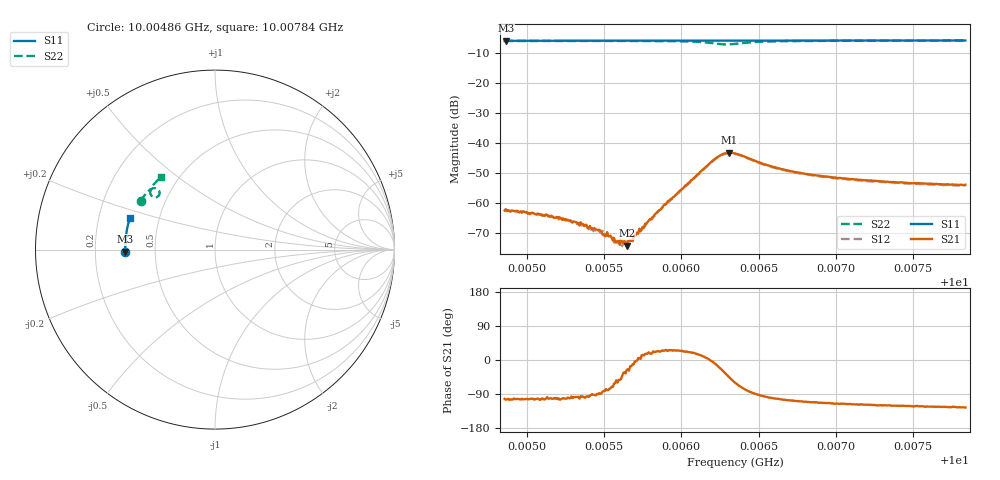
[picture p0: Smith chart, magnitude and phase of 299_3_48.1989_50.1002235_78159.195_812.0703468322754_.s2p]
#  HZ  S  RI  R  50.00
! Rohde & Schwarz Vector Network Analyzer
! Rohde-Schwarz,ZNB20-2Port,1311601062101988,3.16
! Created: UTC 3/20/2024, 11:49:30 AM
! freq[Hz]  re:S11  im:S11  re:S21  im:S21  re:S12  im:S12  re:S22  im:S22
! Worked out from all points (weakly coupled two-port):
!   401 points, 10.00486 GHz to 10.00784 GHz, reference 50 ohm
!   highest |S21| = -43.23 dB at 10.00631 GHz (marker M1); lowest = -74.1 dB at 10.00565 GHz (marker M2)
!   lowest |S11| = -6.0 dB at 10.00487 GHz (marker M3), VSWR 2.99, Z = 16.7 - j0.482 ohm
!   |S11| at or under -10 dB: nowhere
!   |S22| runs from -7.2 to -6.0 dB; largest |S21 - S12| = 0.0004
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1.0004858e10  -0.4992 -0.0113  -0.000164 -0.000735  -0.000104 -0.000739  -0.414 0.2695
1.0004865e10  -0.4991 -0.0108  -0.000201 -0.000766  -0.000117 -0.000737  -0.4138 0.2701
1.0005178e10  -0.4998 0.00958  -0.000101 -0.000557  -0.000103 -0.000583  -0.4021 0.2885
1.0005357e10  -0.4998 0.0212  -5.02e-05 -0.000443  -4.57e-05 -0.000419  -0.395 0.2991
1.0005446e10  -0.4998 0.0269  -2.27e-05 -0.000367  1.78e-05 -0.000352  -0.391 0.3046
1.0005483e10  -0.4997 0.0294  9.12e-06 -0.000334  5.06e-05 -0.000339  -0.3892 0.3069
1.000558e10  -0.4995 0.0358  0.000131 -0.000179  0.000127 -0.000218  -0.3845 0.3128
1.0005595e10  -0.4994 0.0365  0.000145 -0.000188  0.000124 -0.000183  -0.3838 0.3138
1.0005632e10  -0.4993 0.0391  0.0002 -0.000125  0.000176 -0.000134  -0.3818 0.316
1.0005647e10  -0.4993 0.04  0.000176 -8.71e-05  0.000203 -0.000109  -0.3809 0.317
1.0005684e10  -0.499 0.0424  0.000227 -4.67e-05  0.000282 -4.92e-05  -0.3789 0.3194
1.0005744e10  -0.4988 0.0463  0.000361 8.04e-05  0.000354 6.62e-05  -0.3751 0.3231
1.0005789e10  -0.4987 0.0491  0.000476 0.000174  0.000474 0.000181  -0.3723 0.3261
1.0005856e10  -0.4983 0.0535  0.000697 0.000292  0.000677 0.000316  -0.3672 0.3303
1.0006206e10  -0.4958 0.076  0.00509 -0.000502  0.005 -0.00028  -0.313 0.3298
1.0006265e10  -0.4951 0.0796  0.00576 -0.00296  0.00577 -0.00265  -0.3099 0.3081
1.000631e10  -0.4948 0.0822  0.00482 -0.00493  0.00497 -0.00456  -0.3213 0.2939
1.0006347e10  -0.4946 0.0845  0.00338 -0.00577  0.00359 -0.00548  -0.3352 0.2903
1.0006601e10  -0.4925 0.1006  -0.000786 -0.00391  -0.000559 -0.00386  -0.3595 0.3302
1.0006846e10  -0.4897 0.1163  -0.00106 -0.00276  -0.000912 -0.00275  -0.3488 0.3528
1.0007345e10  -0.4822 0.1477  -0.00109 -0.00193  -0.000978 -0.00193  -0.3238 0.3821
1.0007837e10  -0.4729 0.178  -0.00117 -0.00165  -0.00105 -0.00168  -0.2992 0.4049
